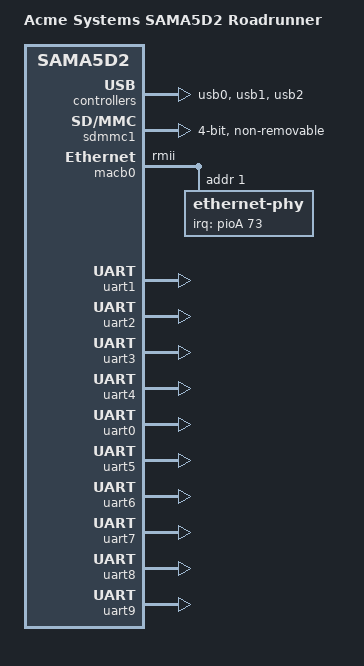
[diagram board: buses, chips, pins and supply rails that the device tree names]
/*
 * acme_roadrunner.dts - Device Tree file for Acme Systems
 * RoadRunner SOM 
 *
 */

/dts-v1/;
#include "sama5d2.dtsi"
#include "sama5d2-pinfunc.h"
#include <dt-bindings/mfd/atmel-flexcom.h>
#include <dt-bindings/gpio/gpio.h>


/ {
	model = "Acme Systems SAMA5D2 Roadrunner";
	compatible = "atmel,sama5d2-roadrunner", "atmel,sama5d27","atmel,sama5d2", "atmel,sama5";

	bootargs = "mem=256M console=ttyS0,115200 root=/dev/mmcblk0p2 rootfstype=ext4 rw rootwait consoleblank=0";

	aliases {
		serial0 = &uart1; /* /dev/ttyS0 Debug port */
		serial1 = &uart2; /* /dev/ttyS1            */
		serial2 = &uart3; /* /dev/ttyS2            */
		serial3 = &uart4; /* /dev/ttyS3            */
		serial4 = &uart0; /* /dev/ttyS4            */
		serial5 = &uart5; /* /dev/ttyS5            */
		serial6 = &uart6; /* /dev/ttyS6            */
		serial7 = &uart7; /* /dev/ttyS7            */
		serial8 = &uart8; /* /dev/ttyS8            */
		serial9 = &uart9; /* /dev/ttyS9            */
	};


	chosen {
		stdout-path = "serial0:115200n8";
	};

	clocks {
		slow_xtal {
			clock-frequency = <32768>;
		};

		main_xtal {
			clock-frequency = <12000000>;
		};
	};

	ahb {
		usb0: gadget@300000 {
			pinctrl-names = "default";
			pinctrl-0 = <&pinctrl_usba_vbus>;
			status = "okay";
		};

		usb1: ohci@400000 {
			num-ports = <3>;
			pinctrl-names = "default";
			pinctrl-0 = <&pinctrl_usb_default>;
			status = "okay";
		};

		usb2: ehci@500000 {
			status = "okay";
		};

		sdmmc1: sdio-host@b0000000 {
			bus-width = <4>;
			pinctrl-names = "default";
			pinctrl-0 = <&pinctrl_sdmmc1_default>;
			non-removable;
			status = "okay"; /* conflict with qspi0 */
		};

		apb {
			macb0: ethernet@f8008000 {
				pinctrl-names = "default";
				pinctrl-0 = <&pinctrl_macb0_default &pinctrl_macb0_phy_irq>;
				phy-mode = "rmii";
				status = "okay";

				ethernet-phy@1 {
					reg = <0x1>;
					interrupt-parent = <&pioA>;
					interrupts = <73 IRQ_TYPE_LEVEL_LOW>;
				};
			};

			tcb0: timer@f800c000 {
				timer0: timer@0 {
					compatible = "atmel,tcb-timer";
					reg = <0>;
				};

				timer1: timer@1 {
					compatible = "atmel,tcb-timer";
					reg = <1>;
				};
			};


			/* /dev/ttyS0 */
			/* Debug port */

			uart1: serial@f8020000 {
				pinctrl-names = "default";
				pinctrl-0 = <&pinctrl_uart1_ioset1>;
				atmel,use-dma-rx;
				atmel,use-dma-tx;
				status = "okay";
			};

			/* /dev/ttyS1 */

			uart2: serial@f8024000 {
				pinctrl-names = "default";
				pinctrl-0 = <&pinctrl_uart2_ioset1>;
				status = "okay";
			};

			/* /dev/ttyS2 */

			uart3: serial@fc008000 {
				pinctrl-names = "default";
				pinctrl-0 = <&pinctrl_uart3_ioset1>;
				status = "okay";
			};

			/* /dev/ttyS3 */

			uart4: serial@fc00c000 {
				pinctrl-names = "default";
				pinctrl-0 = <&pinctrl_uart4_ioset1>;
				status = "okay";
			};

			/* /dev/ttyS4 */

			uart0: serial@f801c000 {
				pinctrl-names = "default";
				pinctrl-0 = <&pinctrl_uart0_ioset1>;
				status = "okay";
			};


			/* /dev/ttyS5 */

			flx0: flexcom@f8034000 {
				atmel,flexcom-mode = <ATMEL_FLEXCOM_MODE_USART>;
				status = "okay"; 

				uart5: serial@200 {
					compatible = "atmel,at91sam9260-usart";
					reg = <0x200 0x200>;
					interrupts = <19 IRQ_TYPE_LEVEL_HIGH 7>;
					clocks = <&flx0_clk>;
					clock-names = "usart";
					pinctrl-names = "default";
					pinctrl-0 = <&pinctrl_flx0_ioset1>;
					atmel,fifo-size = <32>;
					status = "okay";
				};
			};

			/* /dev/ttyS6 */

			flx1: flexcom@f8038000 {
				atmel,flexcom-mode = <ATMEL_FLEXCOM_MODE_USART>;
				status = "okay"; 

				uart6: serial@200 {
					compatible = "atmel,at91sam9260-usart";
					reg = <0x200 0x200>;
					interrupts = <20 IRQ_TYPE_LEVEL_HIGH 7>;
					clocks = <&flx1_clk>;
					clock-names = "usart";
					pinctrl-names = "default";
					pinctrl-0 = <&pinctrl_flx1_ioset1>;
					atmel,fifo-size = <32>;
					status = "okay";
				};
			};

			/* /dev/ttyS7 */

			flx2: flexcom@fc010000 {
				atmel,flexcom-mode = <ATMEL_FLEXCOM_MODE_USART>;
				status = "okay";

				uart7: serial@200 {
					compatible = "atmel,at91sam9260-usart";
					reg = <0x200 0x200>;
					interrupts = <21 IRQ_TYPE_LEVEL_HIGH 7>;
					clocks = <&flx2_clk>;
					clock-names = "usart";
					pinctrl-names = "default";
					pinctrl-0 = <&pinctrl_flx2_ioset1>;
					atmel,fifo-size = <32>;
					status = "okay";
				};
			};


			/* /dev/ttyS8 */

			flx3: flexcom@fc014000 {
				atmel,flexcom-mode = <ATMEL_FLEXCOM_MODE_USART>;
				status = "okay";

				uart8: serial@200 {
					dmas = <0>, <0>;
					compatible = "atmel,at91sam9260-usart";
					reg = <0x200 0x200>;
					interrupts = <22 IRQ_TYPE_LEVEL_HIGH 7>;
					clocks = <&flx3_clk>;
					clock-names = "usart";
					pinctrl-names = "default";
					pinctrl-0 = <&pinctrl_flx3_ioset1>;
					atmel,fifo-size = <32>; 
					status = "okay"; 
				};
			};


			/* /dev/ttyS9 */

			flx4: flexcom@fc018000 {
				atmel,flexcom-mode = <ATMEL_FLEXCOM_MODE_USART>;
				status = "okay";

				uart9: serial@200 {
					compatible = "atmel,at91sam9260-usart";
					reg = <0x200 0x200>;
					interrupts = <23 IRQ_TYPE_LEVEL_HIGH 7>;
					clocks = <&flx4_clk>;
					clock-names = "usart";
					pinctrl-names = "default";
					pinctrl-0 = <&pinctrl_flx4_ioset1>;
					atmel,fifo-size = <32>;
					status = "okay"; 
				};
			};

			shdwc@f8048010 {
				atmel,shdwc-debouncer = <976>;
				atmel,wakeup-rtc-timer;

				input@0 {
					reg = <0>;
					atmel,wakeup-type = "low";
				};
			};

			watchdog@f8048040 {
				status = "okay";
			};

			pinctrl@fc038000 {

				pinctrl_uart0_ioset1: uart0_ioset1 {
					pinmux = <PIN_PB26__URXD0>,
						 <PIN_PB27__UTXD0>;
					bias-disable;
				};

				/* Debug port */

				pinctrl_uart1_ioset1: uart1_ioset1 {
					pinmux = <PIN_PD2__URXD1>,
						 <PIN_PD3__UTXD1>;
					bias-disable;
				};

				pinctrl_uart2_ioset1: uart2_ioset1 {
					pinmux = <PIN_PD4__URXD2>,
						 <PIN_PD5__UTXD2>;
					bias-disable;
				};

				pinctrl_uart2_ioset2: uart2_ioset2 {
					pinmux = <PIN_PD23__URXD2>,
						 <PIN_PD24__UTXD2>;
					bias-disable;
				};

				pinctrl_uart2_ioset3: uart2_ioset3 {
					pinmux = <PIN_PD19__URXD2>,
						 <PIN_PD20__UTXD2>;
					bias-disable;
				};

				pinctrl_uart3_ioset1: uart3_ioset1 {
					pinmux = <PIN_PC12__URXD3>,
						 <PIN_PC13__UTXD3>;
					bias-disable;
				};

				pinctrl_uart3_ioset2: uart3_ioset2 {
					pinmux = <PIN_PC31__URXD3>,
						 <PIN_PD0__UTXD3>;
					bias-disable;
				};

				pinctrl_uart3_ioset3: uart3_ioset3 {
					pinmux = <PIN_PB11__URXD3>,
						 <PIN_PB12__UTXD3>;
					bias-disable;
				};

				pinctrl_uart4_ioset1: uart4_ioset1 {
					pinmux = <PIN_PB3__URXD4>,
						 <PIN_PB4__UTXD4>;
					bias-disable;
				};

				pinctrl_flx0_ioset1: flx0_ioset1 {
					pinmux = <PIN_PB28__FLEXCOM0_IO0>,
						 <PIN_PB29__FLEXCOM0_IO1>;
					bias-disable;
				};

				pinctrl_flx1_ioset1: flx1_ioset1 {
					pinmux = <PIN_PA24__FLEXCOM1_IO0>,
						 <PIN_PA23__FLEXCOM1_IO1>;
					bias-disable;
				};

				pinctrl_flx2_ioset1: flx2_ioset1 {
					pinmux = <PIN_PD26__FLEXCOM2_IO0>,
						 <PIN_PD27__FLEXCOM2_IO1>;
					bias-disable;
				};

				pinctrl_flx3_ioset1: flx3_ioset1 {
					pinmux = <PIN_PA15__FLEXCOM3_IO0>,
						 <PIN_PA13__FLEXCOM3_IO1>;
					bias-disable;
				};

				pinctrl_flx4_ioset1: flx4_ioset1 {
					pinmux = <PIN_PC28__FLEXCOM4_IO0>,
						 <PIN_PC29__FLEXCOM4_IO1>;
					bias-disable;
				};

				pinctrl_macb0_default: macb0_default {
					pinmux = <PIN_PB14__GTXCK>,
						 <PIN_PB15__GTXEN>,
						 <PIN_PB16__GRXDV>,
						 <PIN_PB17__GRXER>,
						 <PIN_PB18__GRX0>,
						 <PIN_PB19__GRX1>,
						 <PIN_PB20__GTX0>,
						 <PIN_PB21__GTX1>,
						 <PIN_PB22__GMDC>,
						 <PIN_PB23__GMDIO>;
					bias-disable;
				};

				pinctrl_macb0_phy_irq: macb0_phy_irq {
					pinmux = <PIN_PC9__GPIO>;
					bias-disable;
				};

				pinctrl_sdmmc1_default: sdmmc1_default {
					cmd_data {
						pinmux = <PIN_PA28__SDMMC1_CMD>,
							 <PIN_PA18__SDMMC1_DAT0>,
							 <PIN_PA19__SDMMC1_DAT1>,
							 <PIN_PA20__SDMMC1_DAT2>,
							 <PIN_PA21__SDMMC1_DAT3>;
						bias-pull-up;
					};

					conf-ck_cd {
						pinmux = <PIN_PA22__SDMMC1_CK>;
						bias-disable;
					};
				};


				pinctrl_usb_default: usb_default {
					pinmux = <PIN_PB10__GPIO>;
					bias-disable;
				};

				pinctrl_usba_vbus: usba_vbus {
					pinmux = <PIN_PA31__GPIO>;
					bias-disable;
				};
			};
		};
	};
};
